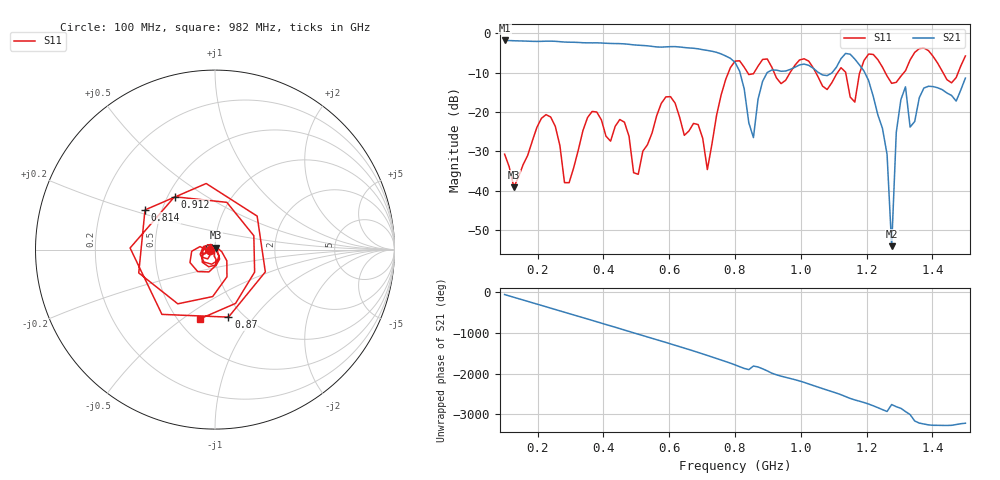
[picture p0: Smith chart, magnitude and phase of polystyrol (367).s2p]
! NanoVNA-App
! Date: 2025-09-25 15:32:45
! Start: 100MHz Stop: 1,5GHz Points: 101
! S-Parameter data: F S11 S21 S12 S22
# Hz S RI R 50
!  Frequency  S11_Real  S11_Imag  S21_Real  S21_Imag  S12_Real  S12_Imag  S22_Real  S22_Imag
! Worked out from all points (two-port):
!   101 points, 100 MHz to 1.5 GHz, reference 50 ohm
!   highest |S21| = -1.80 dB at 100 MHz (marker M1); lowest = -54.1 dB at 1.276 GHz (marker M2)
!   |S21| within 3 dB of the highest: start of sweep to 742.9 MHz
!   lowest |S11| = -39.1 dB at 128 MHz (marker M3), VSWR 1.02, Z = 50.3 + j1.06 ohm
!   |S11| at or under -10 dB: start of sweep to 779.9 MHz; 1.046 GHz to 1.111 GHz (65.69 MHz wide, 6.09 % of centre); 1.257 GHz to 1.313 GHz (56.15 MHz wide, 4.37 % of centre) (the widest 3 of 7)
!   S12 and S22 are empty: the file has one direction only
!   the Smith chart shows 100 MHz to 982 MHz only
!   S11 on the Smith chart (normalised r, x): 100 MHz: 0.94, -0.01; 814 MHz: 0.40, +0.22; 870 MHz: 0.86, -0.75; 912 MHz: 0.54, +0.37; 982 MHz: 0.64, -0.58
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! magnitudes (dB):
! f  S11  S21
! 100 MHz  -30.7  -1.8
! 128 MHz  -39.1  -1.9
! 212 MHz  -21.6  -2.0
! 282 MHz  -37.9  -2.2
! 338 MHz  -24.7  -2.4
! 506 MHz  -35.8  -3.0
! 576 MHz  -17.8  -3.5
! 716 MHz  -34.6  -4.3
! 800 MHz  -7.0  -7.4
! 814 MHz  -7.0  -9.6
! 856 MHz  -10.3  -26.5
! 870 MHz  -8.3  -16.7
! 912 MHz  -8.6  -9.3
! 982 MHz  -8.1  -8.6
! 1.038 GHz  -8.8  -8.9
! 1.164 GHz  -17.5  -6.5
! 1.206 GHz  -5.3  -12.0
! 1.262 GHz  -10.8  -30.7
! 1.276 GHz  -12.7  -54.1
! 1.29 GHz  -12.4  -25.2
! 1.318 GHz  -9.5  -13.6
! 1.5 GHz  -5.7  -11.4
